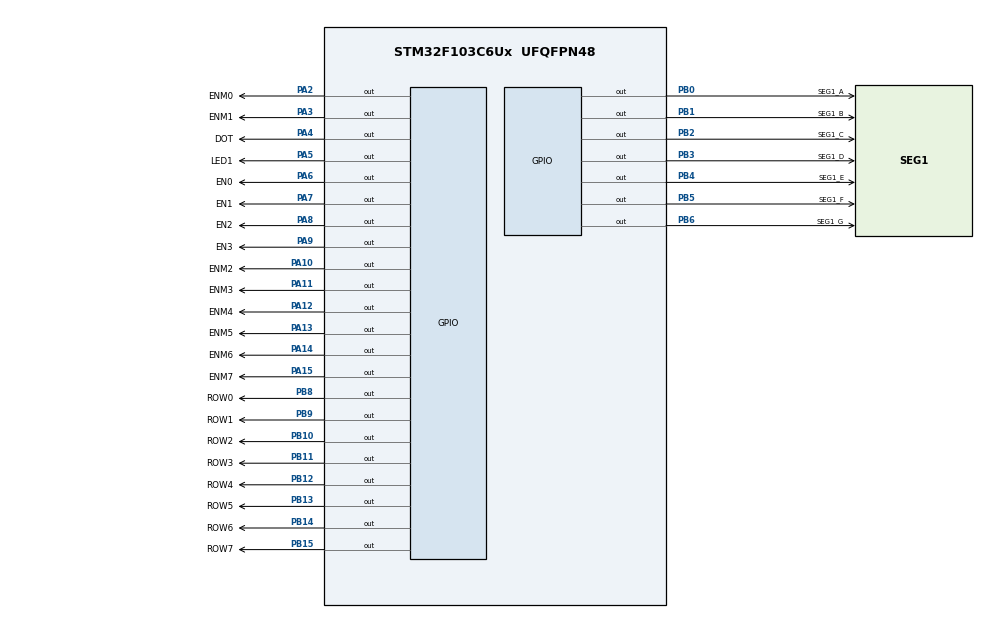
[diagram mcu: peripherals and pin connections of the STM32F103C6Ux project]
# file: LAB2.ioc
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Mcu.Family=STM32F1
Mcu.Name=STM32F103C6Ux
Mcu.Package=UFQFPN48
NVIC.PriorityGroup=NVIC_PRIORITYGROUP_4
NVIC.TIM2_IRQn=true\:0\:0\:false\:false\:true\:true\:true
PA10.GPIO_Label=ENM2
PA10.Signal=GPIO_Output
PA11.GPIO_Label=ENM3
PA11.Signal=GPIO_Output
PA12.GPIO_Label=ENM4
PA12.Signal=GPIO_Output
PA13.GPIO_Label=ENM5
PA13.Signal=GPIO_Output
PA14.GPIO_Label=ENM6
PA14.Signal=GPIO_Output
PA15.GPIO_Label=ENM7
PA15.Signal=GPIO_Output
PA2.GPIO_Label=ENM0
PA2.Signal=GPIO_Output
PA3.GPIO_Label=ENM1
PA3.Signal=GPIO_Output
PA4.GPIO_Label=DOT
PA4.Signal=GPIO_Output
PA5.GPIO_Label=LED1
PA5.Signal=GPIO_Output
PA6.GPIO_Label=EN0
PA6.Signal=GPIO_Output
PA7.GPIO_Label=EN1
PA7.Signal=GPIO_Output
PA8.GPIO_Label=EN2
PA8.Signal=GPIO_Output
PA9.GPIO_Label=EN3
PA9.Signal=GPIO_Output
PB0.GPIO_Label=SEG1_A
PB0.Signal=GPIO_Output
PB1.GPIO_Label=SEG1_B
PB1.Signal=GPIO_Output
PB10.GPIO_Label=ROW2
PB10.Signal=GPIO_Output
PB11.GPIO_Label=ROW3
PB11.Signal=GPIO_Output
PB12.GPIO_Label=ROW4
PB12.Signal=GPIO_Output
PB13.GPIO_Label=ROW5
PB13.Signal=GPIO_Output
PB14.GPIO_Label=ROW6
PB14.Signal=GPIO_Output
PB15.GPIO_Label=ROW7
PB15.Signal=GPIO_Output
PB2.GPIO_Label=SEG1_C
PB2.Signal=GPIO_Output
PB3.GPIO_Label=SEG1_D
PB3.Signal=GPIO_Output
PB4.GPIO_Label=SEG1_E
PB4.Signal=GPIO_Output
PB5.GPIO_Label=SEG1_F
PB5.Signal=GPIO_Output
PB6.GPIO_Label=SEG1_G
PB6.Signal=GPIO_Output
PB8.GPIO_Label=ROW0
PB8.Signal=GPIO_Output
PB9.GPIO_Label=ROW1
PB9.Signal=GPIO_Output
ProjectManager.HeapSize=0x200
ProjectManager.StackSize=0x400
ProjectManager.TargetToolchain=STM32CubeIDE
RCC.APB1Freq_Value=8000000
RCC.APB2Freq_Value=8000000
TIM2.Period=9
TIM2.Prescaler=7999
VP_SYS_VS_ND.Mode=No_Debug
VP_TIM2_VS_ClockSourceINT.Mode=Internal
board=custom

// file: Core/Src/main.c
/* USER CODE BEGIN Header */
/**
  ******************************************************************************
  * @file           : main.c
  * @brief          : Main program body
  ******************************************************************************
  * @attention
  *
  * <h2><center>&copy; Copyright (c) 2023 STMicroelectronics.
  * All rights reserved.</center></h2>
  *
  * This software component is licensed by ST under BSD 3-Clause license,
  * the "License"; You may not use this file except in compliance with the
  * License. You may obtain a copy of the License at:
  *                        opensource.org/licenses/BSD-3-Clause
  *
  ******************************************************************************
  */
/* USER CODE END Header */
#include "main.h"

/* USER CODE BEGIN Includes */
#include "software_timer.h"
#include "display_7seg.h"
#include "global.h"
#include "matrix_led.h"
/* USER CODE END Includes */

TIM_HandleTypeDef htim2;

void SystemClock_Config(void);
static void MX_GPIO_Init(void);
static void MX_TIM2_Init(void);

/* USER CODE BEGIN 0 */

void updateClockBuffer(){
	led_buffer[0] = hour / 10;
	led_buffer[1] = hour % 10;
	led_buffer[2] = minute / 10;
	led_buffer[3] = minute % 10;
}

/* USER CODE END 0 */

int main(void)
{

  /* MCU Configuration--------------------------------------------------------*/

  /* Reset of all peripherals, Initializes the Flash interface and the Systick. */
  HAL_Init();

  /* Configure the system clock */
  SystemClock_Config();

  /* Initialize all configured peripherals */
  MX_GPIO_Init();
  MX_TIM2_Init();
  /* USER CODE BEGIN 2 */
  HAL_TIM_Base_Start_IT(&htim2);
  setTimer1(500);
  setTimer2(1000);
  setTimer3(2000);
  setTimer4(500);
  TIME_7SEG = 250;

  //Variable used for shift the letter
  int index_row_matrix = 0;
  int start_col = 0;
  /* USER CODE END 2 */

  /* Infinite loop */
  /* USER CODE BEGIN WHILE */
  while (1)
  {
	  // EX8
	  // Similar to ex7: Move all code to while, reduce the complexity of interrupt
	  //TODO: updateBufferClock for exercise 7: change the HAL_Delay() -> interrupt
	  if (timer2_flag == 1){
		  second++;
		  setTimer2(1000);
	  	  if (second >= 60){
	  		  second = 0;
	  		  minute++;
	  	  }
	  	  if (minute >= 60){
	  		  minute = 0;
	  		  hour++;
	  	  }
	  	  if (hour >= 24){
	  		  hour = 0;
	  	  }
	  }
	  updateClockBuffer();

	  switch(status){
	  case INIT:
		  status = SEG0;
		  setTimer1(TIME_7SEG);
		  break;
	  case SEG0:
		  update7SEG(status);
		  if (timer1_flag == 1){
			  status = SEG1;
			  setTimer1(TIME_7SEG);
		  }
		  break;
	  case SEG1:
		  update7SEG(status);
		  if (timer1_flag == 1){
			  status = SEG2;
			  setTimer1(TIME_7SEG);
		  }
		  break;
	  case SEG2:
		  update7SEG(status);
		  if (timer1_flag == 1){
			  status = SEG3;
			  setTimer1(TIME_7SEG);
		  }
		  break;
	  case SEG3:
		  update7SEG(status);
		  if (timer1_flag == 1){
			  status = SEG0;
			  setTimer1(TIME_7SEG);
		  }
		  break;
	  default:
		  break;
	  }
//
//	  // TODO: LED PA5 Toggle independently every second
//	  if (timer2_flag == 1){
//		  setTimer2(1000);
//		  HAL_GPIO_TogglePin(LED1_GPIO_Port, LED1_Pin);
//		  second++;
//	  }
//
	  //TODO: LED DOT Blink every 2 seconds
	  if (timer3_flag == 1){
		  setTimer3(2000);
		  HAL_GPIO_TogglePin(DOT_GPIO_Port, DOT_Pin);
	  }
	  if (timer4_flag == 1){
		  setTimer4(200);
		  if (index_led_matrix >= MAX_LED_MATRIX){
			  index_led_matrix = 0;
			  start_col++;
			  if (start_col >= MAX_LED_MATRIX) start_col = 0;
			  index_row_matrix = start_col;
		  }
		  if (index_row_matrix >= MAX_LED_MATRIX) index_row_matrix = 0;

		  updateColM(index_led_matrix++);
		  updateLEDBuffer(index_row_matrix++);
	  }
    /* USER CODE END WHILE */

  }
}

void SystemClock_Config(void)
{
  RCC_OscInitTypeDef RCC_OscInitStruct = {0};
  RCC_ClkInitTypeDef RCC_ClkInitStruct = {0};

  /** Initializes the RCC Oscillators according to the specified parameters
  * in the RCC_OscInitTypeDef structure.
  */
  RCC_OscInitStruct.OscillatorType = RCC_OSCILLATORTYPE_HSI;
  RCC_OscInitStruct.HSIState = RCC_HSI_ON;
  RCC_OscInitStruct.HSICalibrationValue = RCC_HSICALIBRATION_DEFAULT;
  RCC_OscInitStruct.PLL.PLLState = RCC_PLL_NONE;
  if (HAL_RCC_OscConfig(&RCC_OscInitStruct) != HAL_OK)
  {
    Error_Handler();
  }
  /** Initializes the CPU, AHB and APB buses clocks
  */
  RCC_ClkInitStruct.ClockType = RCC_CLOCKTYPE_HCLK|RCC_CLOCKTYPE_SYSCLK
                              |RCC_CLOCKTYPE_PCLK1|RCC_CLOCKTYPE_PCLK2;
  RCC_ClkInitStruct.SYSCLKSource = RCC_SYSCLKSOURCE_HSI;
  RCC_ClkInitStruct.AHBCLKDivider = RCC_SYSCLK_DIV1;
  RCC_ClkInitStruct.APB1CLKDivider = RCC_HCLK_DIV1;
  RCC_ClkInitStruct.APB2CLKDivider = RCC_HCLK_DIV1;

  if (HAL_RCC_ClockConfig(&RCC_ClkInitStruct, FLASH_LATENCY_0) != HAL_OK)
  {
    Error_Handler();
  }
}

static void MX_TIM2_Init(void)
{

  TIM_ClockConfigTypeDef sClockSourceConfig = {0};
  TIM_MasterConfigTypeDef sMasterConfig = {0};

  htim2.Instance = TIM2;
  htim2.Init.Prescaler = 7999;
  htim2.Init.CounterMode = TIM_COUNTERMODE_UP;
  htim2.Init.Period = 9;
  htim2.Init.ClockDivision = TIM_CLOCKDIVISION_DIV1;
  htim2.Init.AutoReloadPreload = TIM_AUTORELOAD_PRELOAD_DISABLE;
  if (HAL_TIM_Base_Init(&htim2) != HAL_OK)
  {
    Error_Handler();
  }
  sClockSourceConfig.ClockSource = TIM_CLOCKSOURCE_INTERNAL;
  if (HAL_TIM_ConfigClockSource(&htim2, &sClockSourceConfig) != HAL_OK)
  {
    Error_Handler();
  }
  sMasterConfig.MasterOutputTrigger = TIM_TRGO_RESET;
  sMasterConfig.MasterSlaveMode = TIM_MASTERSLAVEMODE_DISABLE;
  if (HAL_TIMEx_MasterConfigSynchronization(&htim2, &sMasterConfig) != HAL_OK)
  {
    Error_Handler();
  }

}

static void MX_GPIO_Init(void)
{
  GPIO_InitTypeDef GPIO_InitStruct = {0};

  /* GPIO Ports Clock Enable */
  __HAL_RCC_GPIOA_CLK_ENABLE();
  __HAL_RCC_GPIOB_CLK_ENABLE();

  /*Configure GPIO pin Output Level */
  HAL_GPIO_WritePin(GPIOA, ENM0_Pin|ENM1_Pin|DOT_Pin|LED1_Pin
                          |EN0_Pin|EN1_Pin|EN2_Pin|EN3_Pin
                          |ENM2_Pin|ENM3_Pin|ENM4_Pin|ENM5_Pin
                          |ENM6_Pin|ENM7_Pin, GPIO_PIN_SET);

  /*Configure GPIO pin Output Level */
  HAL_GPIO_WritePin(GPIOB, SEG1_A_Pin|SEG1_B_Pin|SEG1_C_Pin|ROW2_Pin
                          |ROW3_Pin|ROW4_Pin|ROW5_Pin|ROW6_Pin
                          |ROW7_Pin|SEG1_D_Pin|SEG1_E_Pin|SEG1_F_Pin
                          |SEG1_G_Pin|ROW0_Pin|ROW1_Pin, GPIO_PIN_SET);

  /*Configure GPIO pins : ENM0_Pin ENM1_Pin DOT_Pin LED1_Pin
                           EN0_Pin EN1_Pin EN2_Pin EN3_Pin
                           ENM2_Pin ENM3_Pin ENM4_Pin ENM5_Pin
                           ENM6_Pin ENM7_Pin */
  GPIO_InitStruct.Pin = ENM0_Pin|ENM1_Pin|DOT_Pin|LED1_Pin
                          |EN0_Pin|EN1_Pin|EN2_Pin|EN3_Pin
                          |ENM2_Pin|ENM3_Pin|ENM4_Pin|ENM5_Pin
                          |ENM6_Pin|ENM7_Pin;
  GPIO_InitStruct.Mode = GPIO_MODE_OUTPUT_PP;
  GPIO_InitStruct.Pull = GPIO_NOPULL;
  GPIO_InitStruct.Speed = GPIO_SPEED_FREQ_LOW;
  HAL_GPIO_Init(GPIOA, &GPIO_InitStruct);

  /*Configure GPIO pins : SEG1_A_Pin SEG1_B_Pin SEG1_C_Pin ROW2_Pin
                           ROW3_Pin ROW4_Pin ROW5_Pin ROW6_Pin
                           ROW7_Pin SEG1_D_Pin SEG1_E_Pin SEG1_F_Pin
                           SEG1_G_Pin ROW0_Pin ROW1_Pin */
  GPIO_InitStruct.Pin = SEG1_A_Pin|SEG1_B_Pin|SEG1_C_Pin|ROW2_Pin
                          |ROW3_Pin|ROW4_Pin|ROW5_Pin|ROW6_Pin
                          |ROW7_Pin|SEG1_D_Pin|SEG1_E_Pin|SEG1_F_Pin
                          |SEG1_G_Pin|ROW0_Pin|ROW1_Pin;
  GPIO_InitStruct.Mode = GPIO_MODE_OUTPUT_PP;
  GPIO_InitStruct.Pull = GPIO_NOPULL;
  GPIO_InitStruct.Speed = GPIO_SPEED_FREQ_LOW;
  HAL_GPIO_Init(GPIOB, &GPIO_InitStruct);

}

/* USER CODE BEGIN 4 */
void HAL_TIM_PeriodElapsedCallback(TIM_HandleTypeDef *htim){
	timerRun();
}
/* USER CODE END 4 */

void Error_Handler(void)
{
  __disable_irq();
  while (1)
  {
  }
}

/************************ (C) COPYRIGHT STMicroelectronics *****END OF FILE****/
